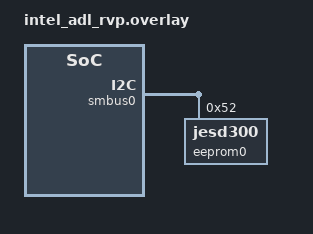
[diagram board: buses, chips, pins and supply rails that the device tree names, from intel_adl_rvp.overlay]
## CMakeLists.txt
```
# SPDX-License-Identifier: Apache-2.0

cmake_minimum_required(VERSION 3.20.0)

find_package(Zephyr REQUIRED HINTS $ENV{ZEPHYR_BASE})
project(spd_sample)

target_sources(app PRIVATE src/main.c)
```

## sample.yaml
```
sample:
  description: Serial Presence Detect (SPD) EEPROM sample
  name: spd sample
common:
  platform_allow: intel_rpl_s_crb intel_adl_rvp
  build_only: true
tests:
  sample.drivers.eeprom.spd:
    tags: smbus spd
```

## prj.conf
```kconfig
CONFIG_SMBUS=y
CONFIG_EEPROM=y
CONFIG_SHELL=y
CONFIG_LOG=y
CONFIG_CRC=y
```

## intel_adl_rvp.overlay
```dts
/*
 * Copyright (c) 2023 Intel Corporation
 *
 * SPDX-License-Identifier: Apache-2.0
 */

&smbus0 {
	eeprom0: smbus_eeprom@52 {
		compatible = "jedec,jesd300";
		reg = <0x52>;
		size = <0x400>;

		status = "okay";
	};
};

/ {
	aliases {
		eeprom-spd = &eeprom0;
	};
};
```

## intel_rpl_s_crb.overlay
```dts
/*
 * Copyright (c) 2023 Intel Corporation
 *
 * SPDX-License-Identifier: Apache-2.0
 */

&smbus0 {
	eeprom0: smbus_eeprom@50 {
		compatible = "jedec,jesd300";
		reg = <0x50>;
		size = <0x400>;

		status = "okay";
	};
};

/ {
	aliases {
		eeprom-spd = &eeprom0;
	};
};
```

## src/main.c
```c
/*
 * Copyright (c) 2022 Intel Corporation
 *
 * SPDX-License-Identifier: Apache-2.0
 */

#include <zephyr/kernel.h>
#include <zephyr/drivers/eeprom.h>
#include <zephyr/drivers/smbus.h>

#include <zephyr/sys/crc.h>

#include "spd.h"

/*
 * For reference: DDR5 Serial Presence Detect (SPD) Contents, JESD400-5A.01
 * Release 1.1
 */

static const char *get_memory_type(uint8_t type)
{
	switch (type) {
	case SPD_TYPE_DDR3:
		return "DDR3 SDRAM";
	case SPD_TYPE_DDR4:
		return "DDR4 SDRAM";
	case SPD_TYPE_LPDDR3:
		return "LPDDR3 SDRAM";
	case SPD_TYPE_LPDDR4:
		return "LPDDR4 SDRAM";
	case SPD_TYPE_DDR5:
		return "DDR5 SDRAM";
	default:
		return "Unknown";
	}
}

static int get_spd_length(uint8_t dev_descr)
{
	switch ((dev_descr >> 4) & 0b111) {
	case 0b001:
		return 256;
	case 0b010:
		return 512;
	case 0b011:
		return 1024;
	case 0b100:
		return 2048;
	default:
		return -EINVAL;
	}
}

static void spd_decode_lpddr4(const uint8_t *buf)
{
	printk("SPD Revision: %d.%d\n", (buf[SPD_REVISION] >> 4) & 0b1111,
	       (buf[SPD_REVISION] & 0b1111));

	printk("SPD Module Type: type %d media %d hybrid %d\n",
	       buf[SPD_MODULE_TYPE] & 0x0f,
	       (buf[SPD_MODULE_TYPE] >> 4) & 0x07,
	       (buf[SPD_MODULE_TYPE] >> 7) & 0x01);

	printk("SPD Area: Used %d bytes Total %d bytes\n",
	       (buf[SPD_DEV_DESCRIPTION] & 0b111) * 128,
	       ((buf[SPD_DEV_DESCRIPTION] >> 4) & 0b0111) * 256);

	printk("SPD SDRAM Ranks %d Width per channel %d\n",
	       ((buf[SPD_MODULE_ORGANIZATION] >> 3) & 0x07) + 1,
	       0x4 << (buf[SPD_MODULE_ORGANIZATION] & 0x0f));

	printk("SPD SDRAM System Channel Bus Width %d\n",
	       0x8 << (buf[SPD_MODULE_MEMORY_BUS_WIDTH] & 0x07));

	printk("SPD CRC16 LSB 0x%x MSB 0x%x\n",
	       buf[SPD4_CRC16_LSB], buf[SPD4_CRC16_MSB]);
}

static const char *get_manufacturer(uint16_t id)
{
	/**
	 * The table would be populated when needed. The code is 2 bytes,
	 * page and actual id. It also has odd parity bit. At the moment
	 * very simplified.
	 *
	 * See Jep106.
	 */
	switch (id) {
	case 0x802c:
		return "Micron";
	case 0x80ce:
		return "Samsung";
	default:
		return "Unknown";
	}
}

static void spd_decode_ddr5(const uint8_t *buf)
{
	uint16_t id, crc;

	printk("SPD Revision: %d.%d\n", (buf[SPD_REVISION] >> 4) & 0b1111,
	       (buf[SPD_REVISION] & 0b1111));

	id = buf[512] << 8 | buf[513];
	printk("Memory manufacturer: (0x%04x) %s\n", id, get_manufacturer(id));

	crc = buf[SPD5_CRC16_MSB] << 8 | buf[SPD5_CRC16_LSB];
	printk("SPD CRC16 0x%04x\n", crc);

	/*
	 * Calculate CRC16 with fast recommended function crc16_itu_t()
	 * Verify that the 16-bit cyclic redundancy check (CRC) for bytes 0 to 509
	 * matches the value stored.
	 */
	if (crc == crc16_itu_t(0, buf, 510)) {
		printk("CRC16 verified\n");
	} else {
		printk("CRC16 does not match with calculated value\n");
	}
}

static void spd_eeprom_decode(const uint8_t *buf, size_t len)
{
	uint8_t dev_descr = buf[SPD_DEV_DESCRIPTION];
	uint8_t memory_type = buf[SPD_MEMORY_TYPE];
	int spd_len = get_spd_length(dev_descr);

	if (spd_len < 0 || spd_len > len) {
		return;
	}

	printk("SPD length: %d\n", spd_len);
	printk("SPD Memory Type: %s\n", get_memory_type(memory_type));

	switch (memory_type) {
	case SPD_TYPE_LPDDR4:
		return spd_decode_lpddr4(buf);
	case SPD_TYPE_DDR5:
		return spd_decode_ddr5(buf);
	default:
		printk("Memory type %s (%u) is not decoded\n",
		       get_memory_type(memory_type), memory_type);
	}
}

int main(void)
{
	const struct device *const dev = DEVICE_DT_GET(DT_ALIAS(eeprom_spd));
	uint8_t spd_buf[1024];
	size_t len;
	int ret;

	if (!device_is_ready(dev)) {
		printk("EEPROM SPD device not found\n");
		return -ENODEV;
	}

	printk("Start SPD EEPROM sample %s\n", CONFIG_BOARD);

	len = eeprom_get_size(dev);

	printk("EEPROM size %zd\n", len);

	if (len > sizeof(spd_buf)) {
		return -ENODEV;
	}

	ret = eeprom_read(dev, 0, spd_buf, len);
	if (ret) {
		printk("Cannot read SPD EEPROM");
		return -EINVAL;
	}

	spd_eeprom_decode(spd_buf, len);

	return 0;
}
```

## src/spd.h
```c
/*
 * Copyright (c) 2022 Intel Corporation
 *
 * SPDX-License-Identifier: Apache-2.0
 */

#define SPD_DEV_DESCRIPTION		0
#define SPD_REVISION			1
#define SPD_MEMORY_TYPE			2
#define SPD_MODULE_TYPE			3

#define SPD_MODULE_ORGANIZATION		12
#define SPD_MODULE_MEMORY_BUS_WIDTH	13

/**
 * Memory Type Definitions
 */
#define SPD_TYPE_SDR			4 /* SDR SDRAM memory */
#define SPD_TYPE_DDR			7 /* DDR SDRAM memory */
#define SPD_TYPE_DDR2			8 /* DDR2 SDRAM memory */
#define SPD_TYPE_DDR3			11 /* DDR3 SDRAM memory */
#define SPD_TYPE_DDR4			12 /* DDR4 SDRAM memory */
#define SPD_TYPE_LPDDR3			15 /* LPDDR3 SDRAM memory */
#define SPD_TYPE_LPDDR4			16 /* LPDDR4 SDRAM memory */
#define SPD_TYPE_DDR5			18 /* DDR5 SDRAM memory */

/* SPD4 definitions */
#define SPD4_CRC16_LSB			126
#define SPD4_CRC16_MSB			127

/* SPD5 definitions */
#define SPD5_CRC16_LSB			510
#define SPD5_CRC16_MSB			511

/* Module Manufacturer ID Code First and Second bytes */
#define SPD5_MANUFACTURER_ID_1		512
#define SPD5_MANUFACTURER_ID_2		513
```
